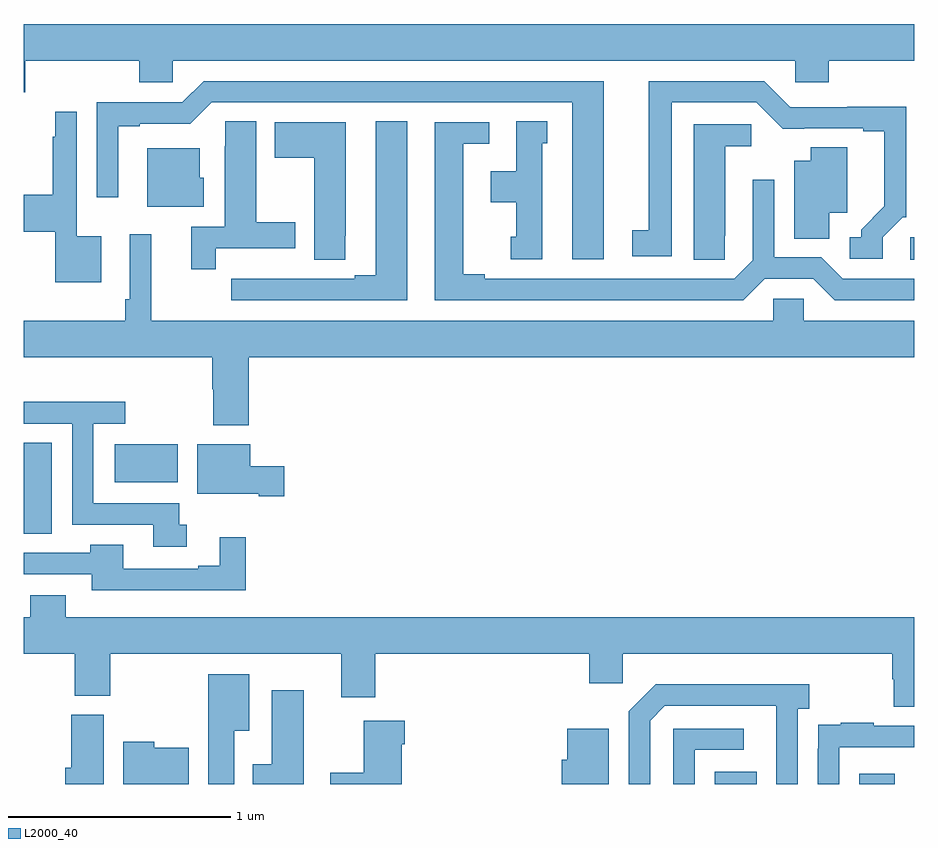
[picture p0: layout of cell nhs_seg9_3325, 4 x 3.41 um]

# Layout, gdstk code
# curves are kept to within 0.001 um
import gdstk
lib = gdstk.Library(unit=1e-6, precision=1e-09)
def R(c, l, rs):  # rectangles x0, y0, x1, y1
    for r in rs: c.add(gdstk.rectangle(r[:2], r[2:], *l))
def P(c, l, *ps):  # polygons
    for p in ps: c.add(gdstk.Polygon(p, *l))
L2000_40 = (2000, 40)

nhs_seg9_3325 = lib.new_cell('nhs_seg9_3325')
R(nhs_seg9_3325, L2000_40, [(304.103,1198.5,304.291,1198.555), (304.751,1198.5,304.912,1198.546), (301,1199.623,301.126,1200.032), (301.409,1199.855,301.693,1200.025), (304.98,1200.853,305,1200.954)])
P(nhs_seg9_3325, L2000_40, [(301.007,1201.748),(301.52,1201.748),(301.52,1201.65),(301.671,1201.65),(301.671,1201.748),(304.464,1201.748),(304.464,1201.65),(304.616,1201.65),(304.616,1201.748),(305,1201.748),(305,1201.912),(301,1201.912),(301,1201.606),(301.007,1201.606)],
  [(304.857,1200.954),(304.947,1201.044),(304.962,1201.044),(304.962,1201.541),(304.699,1201.541),(304.699,1201.539),(304.443,1201.539),(304.326,1201.656),(303.806,1201.656),(303.806,1200.986),(303.732,1200.986),(303.732,1200.87),(303.91,1200.87),(303.91,1201.56),(304.29,1201.56),(304.408,1201.442),(304.769,1201.443),(304.769,1201.431),(304.865,1201.431),(304.865,1201.094),(304.76,1200.989),(304.76,1200.954),(304.71,1200.954),(304.71,1200.858),(304.857,1200.858)],
  [(303.604,1201.656),(301.809,1201.656),(301.713,1201.56),(301.329,1201.56),(301.329,1201.134),(301.426,1201.134),(301.426,1201.452),(301.522,1201.452),(301.522,1201.464),(301.749,1201.464),(301.845,1201.56),(303.464,1201.56),(303.464,1200.855),(303.604,1200.855)],
  [(301.348,1200.958),(301.239,1200.958),(301.239,1201.519),(301.142,1201.519),(301.142,1201.406),(301.131,1201.406),(301.131,1201.146),(301,1201.146),(301,1200.98),(301.142,1200.98),(301.142,1200.752),(301.348,1200.752)],
  [(303.328,1201.377),(303.352,1201.377),(303.352,1201.475),(303.212,1201.475),(303.212,1201.252),(303.098,1201.252),(303.098,1201.112),(303.212,1201.112),(303.212,1200.957),(303.188,1200.957),(303.188,1200.855),(303.328,1200.855)],
  [(302.722,1201.475),(302.582,1201.475),(302.582,1200.783),(302.486,1200.783),(302.486,1200.768),(302.21,1200.768),(302.21,1200.769),(302.044,1200.769),(302.044,1200.768),(301.932,1200.768),(301.932,1200.672),(302.722,1200.672)],
  [(301.862,1200.906),(302.221,1200.906),(302.221,1201.023),(302.044,1201.023),(302.044,1201.475),(301.905,1201.475),(301.905,1201.364),(301.904,1201.364),(301.904,1201.002),(301.754,1201.002),(301.754,1200.81),(301.862,1200.81)],
  [(302.445,1200.961),(302.446,1200.961),(302.446,1201.471),(302.129,1201.471),(302.129,1201.312),(302.306,1201.312),(302.306,1200.853),(302.445,1200.853)],
  [(304.327,1200.768),(304.545,1200.768),(304.641,1200.672),(305,1200.672),(305,1200.768),(304.677,1200.768),(304.581,1200.864),(304.371,1200.864),(304.371,1201.213),(304.275,1201.213),(304.275,1200.852),(304.191,1200.768),(303.07,1200.768),(303.07,1200.788),(302.974,1200.788),(302.974,1201.374),(303.091,1201.374),(303.091,1201.47),(302.846,1201.47),(302.846,1200.672),(304.231,1200.672)],
  [(304.149,1200.961),(304.15,1200.961),(304.15,1201.364),(304.267,1201.364),(304.267,1201.461),(304.01,1201.461),(304.01,1200.853),(304.149,1200.853)],
  [(304.618,1201.064),(304.699,1201.064),(304.699,1201.358),(304.535,1201.358),(304.535,1201.297),(304.46,1201.297),(304.46,1200.949),(304.618,1200.949)],
  [(301.81,1201.221),(301.792,1201.221),(301.792,1201.354),(301.556,1201.354),(301.556,1201.091),(301.81,1201.091)],
  [(302.012,1200.416),(305,1200.416),(305,1200.58),(304.503,1200.58),(304.503,1200.678),(304.365,1200.678),(304.365,1200.58),(301.574,1200.58),(301.574,1200.967),(301.476,1200.967),(301.476,1200.676),(301.456,1200.676),(301.456,1200.58),(301,1200.58),(301,1200.416),(301.847,1200.416),(301.847,1200.272),(301.852,1200.272),(301.852,1200.111),(302.012,1200.111)],
  [(301.732,1199.663),(301.7,1199.663),(301.7,1199.76),(301.314,1199.76),(301.314,1200.117),(301.456,1200.117),(301.456,1200.215),(301,1200.215),(301,1200.117),(301.218,1200.117),(301.218,1199.664),(301.583,1199.664),(301.583,1199.565),(301.732,1199.565)],
  [(302.17,1199.926),(302.017,1199.926),(302.017,1200.025),(301.781,1200.025),(301.781,1199.804),(302.057,1199.804),(302.057,1199.792),(302.17,1199.792)],
  [(301.997,1199.608),(301.88,1199.608),(301.88,1199.479),(301.784,1199.479),(301.784,1199.466),(301.447,1199.466),(301.447,1199.575),(301.3,1199.575),(301.3,1199.538),(301,1199.538),(301,1199.442),(301.307,1199.442),(301.307,1199.37),(301.997,1199.37)],
  [(305,1199.248),(301.19,1199.248),(301.19,1199.347),(301.03,1199.347),(301.03,1199.248),(301,1199.248),(301,1199.084),(301.229,1199.084),(301.229,1198.897),(301.389,1198.897),(301.389,1199.084),(302.426,1199.084),(302.426,1198.89),(302.579,1198.89),(302.579,1199.084),(303.539,1199.084),(303.539,1198.953),(303.69,1198.953),(303.69,1199.084),(304.901,1199.084),(304.901,1198.971),(304.906,1198.971),(304.906,1198.846),(305,1198.846)],
  [(301.945,1198.739),(302.014,1198.739),(302.014,1198.993),(301.829,1198.993),(301.829,1198.5),(301.945,1198.5)],
  [(303.813,1198.785),(303.879,1198.851),(304.379,1198.851),(304.38,1198.5),(304.476,1198.5),(304.476,1198.838),(304.528,1198.838),(304.528,1198.948),(303.838,1198.948),(303.717,1198.827),(303.717,1198.5),(303.813,1198.5)],
  [(302.257,1198.921),(302.114,1198.921),(302.114,1198.588),(302.03,1198.588),(302.03,1198.5),(302.257,1198.5)],
  [(301.36,1198.812),(301.214,1198.812),(301.214,1198.574),(301.187,1198.574),(301.187,1198.5),(301.36,1198.5)],
  [(302.698,1198.679),(302.711,1198.679),(302.711,1198.783),(302.528,1198.783),(302.528,1198.551),(302.376,1198.551),(302.376,1198.5),(302.698,1198.5)],
  [(304.662,1198.665),(305,1198.665),(305,1198.761),(304.817,1198.761),(304.817,1198.774),(304.669,1198.774),(304.669,1198.767),(304.567,1198.767),(304.567,1198.658),(304.566,1198.658),(304.566,1198.5),(304.662,1198.5)],
  [(304.014,1198.653),(304.234,1198.653),(304.234,1198.749),(303.918,1198.749),(303.918,1198.5),(304.014,1198.5)],
  [(303.628,1198.747),(303.44,1198.747),(303.44,1198.608),(303.416,1198.608),(303.416,1198.5),(303.628,1198.5)],
  [(301.741,1198.663),(301.587,1198.663),(301.587,1198.69),(301.448,1198.69),(301.448,1198.5),(301.741,1198.5)])

lib.write_gds('nhs_seg9_3325.gds')
